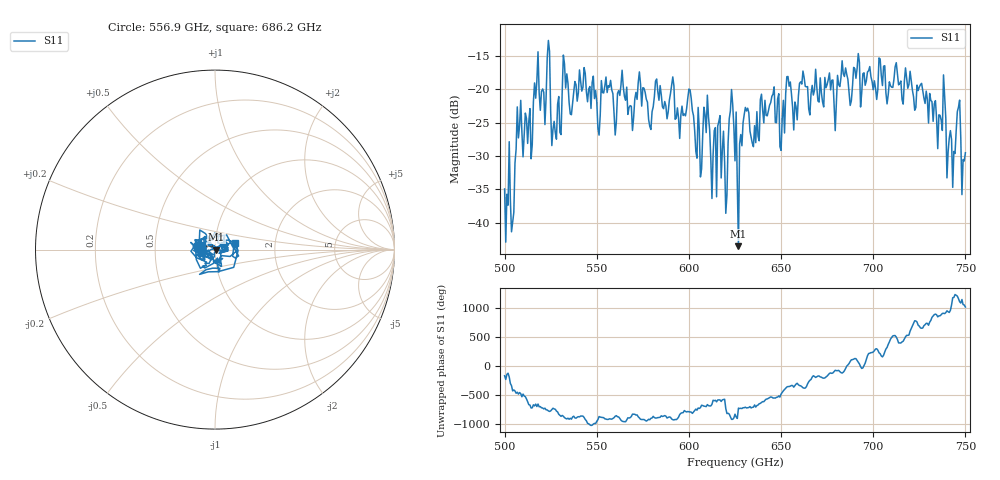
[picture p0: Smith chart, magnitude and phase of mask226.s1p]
!Created with skrf (http://scikit-rf.org).
# GHz S MA R 50.0
!freq magS11 angS11
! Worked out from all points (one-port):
!   401 points, 500 GHz to 750 GHz, reference 50 ohm
!   lowest |S11| = -43.5 dB at 626.9 GHz (marker M1), VSWR 1.01, Z = 50.7 - j0.0827 ohm
!   |S11| at or under -10 dB: start of sweep to end of sweep
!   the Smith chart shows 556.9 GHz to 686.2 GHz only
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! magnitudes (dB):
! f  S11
! 500 GHz  -34.9
! 504.4 GHz  -39.9
! 507.5 GHz  -27.3
! 513.8 GHz  -22.9
! 516.9 GHz  -21.4
! 523.8 GHz  -12.7
! 526.9 GHz  -24.8
! 531.2 GHz  -20.4
! 562.5 GHz  -21.0
! 579.4 GHz  -26.0
! 590.6 GHz  -19.5
! 593.8 GHz  -22.8
! 600.6 GHz  -20.1
! 605.6 GHz  -26.1
! 609.4 GHz  -26.5
! 619.4 GHz  -31.0
! 622.5 GHz  -23.3
! 625 GHz  -30.7
! 626.9 GHz  -43.5
! 631.2 GHz  -23.3
! 635 GHz  -28.6
! 656.2 GHz  -22.7
! 687.5 GHz  -22.5
! 718.8 GHz  -19.9
! 738.1 GHz  -17.9
! 743.1 GHz  -34.7
! 746.2 GHz  -22.7
! 750 GHz  -29.5
